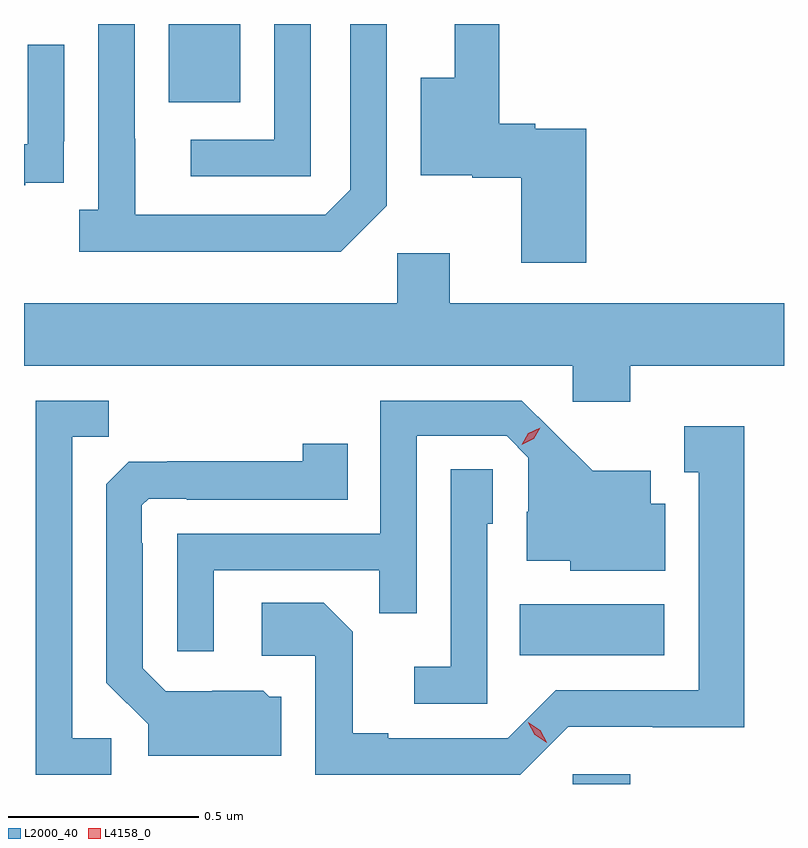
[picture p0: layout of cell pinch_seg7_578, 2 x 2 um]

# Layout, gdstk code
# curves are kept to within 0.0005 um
import gdstk
lib = gdstk.Library(unit=1e-6, precision=1e-09)
def R(c, l, rs):  # rectangles x0, y0, x1, y1
    for r in rs: c.add(gdstk.rectangle(r[:2], r[2:], *l))
def P(c, l, *ps):  # polygons
    for p in ps: c.add(gdstk.Polygon(p, *l))
L2000_40 = (2000, 40)
L4158_0 = (4158, 0)

pinch_seg7_578 = lib.new_cell('pinch_seg7_578')
R(pinch_seg7_578, L2000_40, [(171.918,1056.791,172.07,1056.817), (171.778,1057.13,172.159,1057.264), (170.855,1058.585,171.043,1058.791)])
P(pinch_seg7_578, L2000_40, [(171.228,1058.791),(171.132,1058.791),(171.132,1058.487),(170.913,1058.487),(170.913,1058.391),(171.228,1058.391)],
  [(171.429,1058.313),(171.429,1058.791),(171.333,1058.791),(171.333,1058.355),(171.267,1058.289),(170.767,1058.289),(170.767,1058.489),(170.766,1058.489),(170.766,1058.791),(170.67,1058.791),(170.67,1058.302),(170.619,1058.302),(170.619,1058.192),(171.308,1058.192)],
  [(171.953,1058.515),(171.819,1058.515),(171.819,1058.528),(171.725,1058.528),(171.725,1058.791),(171.608,1058.791),(171.608,1058.65),(171.518,1058.65),(171.518,1058.393),(171.654,1058.393),(171.654,1058.386),(171.782,1058.386),(171.782,1058.163),(171.953,1058.163)],
  [(170.477,1058.373),(170.579,1058.373),(170.579,1058.482),(170.58,1058.482),(170.58,1058.737),(170.484,1058.737),(170.484,1058.475),(170.474,1058.475),(170.474,1058.367),(170.477,1058.367)],
  [(172.07,1057.892),(172.474,1057.892),(172.474,1058.056),(171.595,1058.056),(171.595,1058.188),(171.456,1058.188),(171.456,1058.056),(170.474,1058.056),(170.474,1057.892),(171.918,1057.892),(171.918,1057.797),(172.07,1057.797)],
  [(170.973,1057.353),(171.409,1057.353),(171.409,1057.24),(171.507,1057.24),(171.507,1057.707),(171.744,1057.707),(171.801,1057.65),(171.801,1057.508),(171.797,1057.508),(171.797,1057.379),(171.912,1057.379),(171.912,1057.352),(172.162,1057.352),(172.162,1057.528),(172.123,1057.528),(172.123,1057.615),(171.971,1057.615),(171.784,1057.8),(171.411,1057.8),(171.411,1057.449),(170.877,1057.449),(170.877,1057.14),(170.973,1057.14)],
  [(170.704,1056.912),(170.601,1056.912),(170.601,1057.705),(170.697,1057.705),(170.697,1057.8),(170.505,1057.8),(170.505,1056.816),(170.704,1056.816)],
  [(171.906,1056.942),(172.128,1056.942),(172.128,1056.941),(172.369,1056.941),(172.369,1057.732),(172.211,1057.732),(172.211,1057.611),(172.25,1057.611),(172.25,1057.038),(171.873,1057.038),(171.747,1056.912),(171.433,1056.912),(171.433,1056.925),(171.339,1056.925),(171.339,1057.192),(171.263,1057.268),(171.099,1057.268),(171.099,1057.128),(171.24,1057.128),(171.24,1056.816),(171.78,1056.816)],
  [(171.151,1057.02),(171.12,1057.02),(171.104,1057.036),(170.97,1057.036),(170.97,1057.035),(170.847,1057.035),(170.787,1057.095),(170.787,1057.424),(170.784,1057.424),(170.784,1057.524),(170.802,1057.542),(170.902,1057.542),(170.902,1057.539),(171.326,1057.539),(171.326,1057.687),(171.208,1057.687),(171.208,1057.64),(170.851,1057.64),(170.851,1057.639),(170.75,1057.639),(170.691,1057.58),(170.691,1057.058),(170.801,1056.948),(170.801,1056.866),(171.151,1056.866)],
  [(171.693,1057.476),(171.708,1057.476),(171.708,1057.619),(171.597,1057.619),(171.597,1057.099),(171.501,1057.099),(171.501,1057.002),(171.693,1057.002)])
P(pinch_seg7_578, L4158_0, [(171.85,1056.9),(171.818,1056.92),(171.801,1056.952),(171.801,1056.953),(171.801,1056.953),(171.833,1056.933),(171.85,1056.901),(171.85,1056.9)],
  [(171.784,1057.684),(171.784,1057.684),(171.801,1057.714),(171.832,1057.729),(171.832,1057.729),(171.832,1057.729),(171.815,1057.699),(171.784,1057.684)])

lib.write_gds('pinch_seg7_578.gds')
